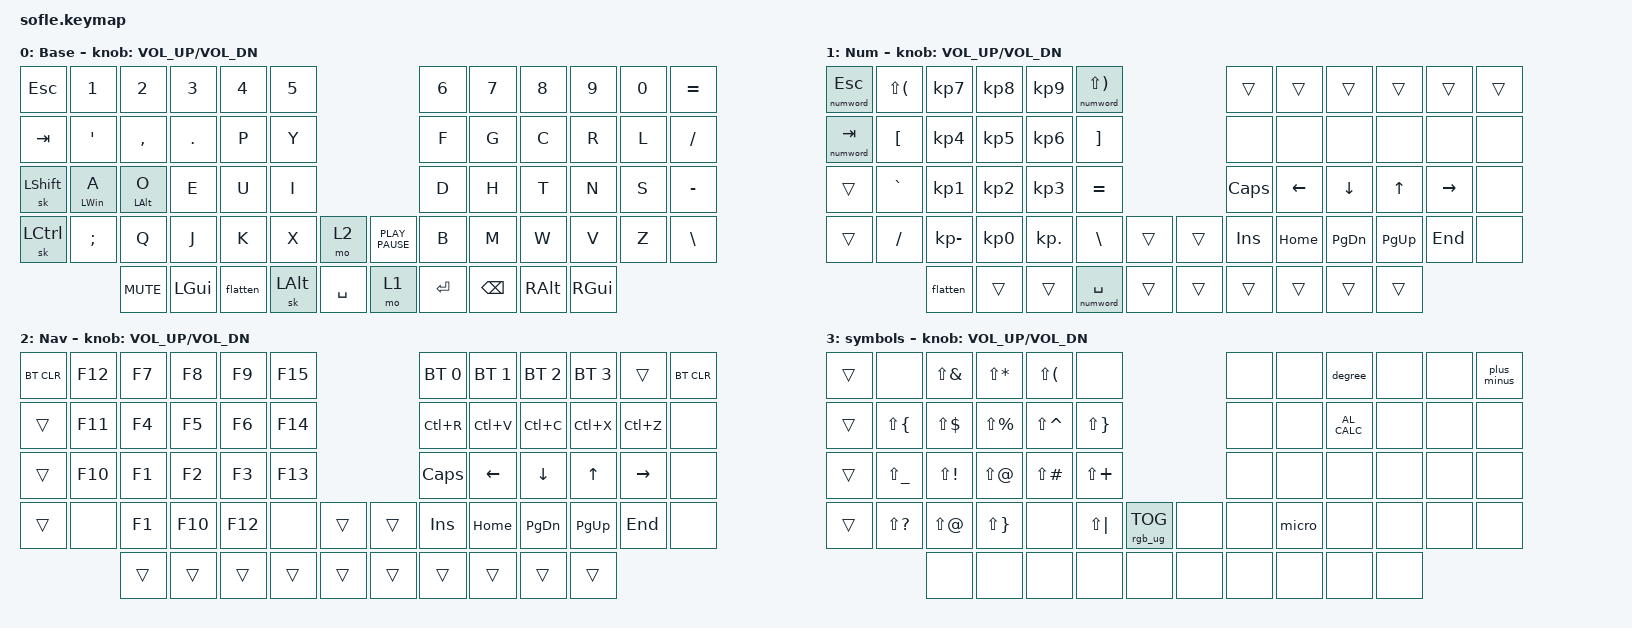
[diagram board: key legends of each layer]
/*
 * Copyright (c) 2020 The ZMK Contributors
 *
 * SPDX-License-Identifier: MIT
 */

#include <behaviors.dtsi>
#include <dt-bindings/zmk/bt.h>
#include <dt-bindings/zmk/keys.h>
#include <dt-bindings/zmk/pointing.h>
#include <dt-bindings/zmk/rgb.h>

#define BASE 0
#define LOWER 1
#define RAISE 2
#define ADJUST 3

/ {
    // Activate ADJUST layer by pressing raise and lower

    conditional_layers {
        compatible = "zmk,conditional-layers";

        adjust_layer {
            if-layers = <LOWER RAISE>;
            then-layer = <ADJUST>;
        };
    };

    combos {
        compatible = "zmk,combos";

        escape {
            bindings = <&kp ESCAPE>;
            key-positions = <14 15>;
        };

        enter {
            bindings = <&kp ENTER>;
            key-positions = <15 16>;
            layers = <0 2 3>;
        };

        backspace {
            bindings = <&kp BACKSPACE>;
            key-positions = <16 17>;
        };

        copy {
            bindings = <&kp LC(C)>;
            key-positions = <38 39>;
        };

        cut {
            bindings = <&kp LC(X)>;
            key-positions = <38 40>;
        };

        paste {
            bindings = <&kp LC(V)>;
            key-positions = <39 40>;
        };

        nwenter {
            bindings = <&numword ENTER>;
            key-positions = <15 16>;
            layers = <1>;
        };

        numenter {
            bindings = <&kp KP_ENTER>;
            key-positions = <28 40>;
        };

        numcomma {
            bindings = <&commaspace>;
            key-positions = <14 26>;
            layers = <1>;
        };

        ctrl-a {
            bindings = <&kp LC(A)>;
            key-positions = <24 25>;
        };

        alt-o {
            bindings = <&kp LA(O)>;
            key-positions = <25 26>;
        };

        pwdshortcut {
            bindings = <&kp LC(SEMICOLON)>;
            key-positions = <36 37>;
        };

        symbol {
            bindings = <&sl 3>;
            key-positions = <24 36>;
        };

        scrollup {
            bindings = <&msc SCRL_UP>;
            key-positions = <5 17>;
        };

        scrolldown {
            bindings = <&msc SCRL_DOWN>;
            key-positions = <29 41>;
        };
    };

    macros {
        plus_minus: plus_minus {
            compatible = "zmk,behavior-macro";
            #binding-cells = <0>;
            bindings =
                <&macro_press>,
                <&kp LEFT_ALT>,
                <&macro_tap>,
                <&kp KP_N0 &kp KP_NUMBER_1 &kp KP_NUMBER_7 &kp KP_NUMBER_7>,
                <&macro_release>,
                <&kp LEFT_ALT>;

            label = "PLUS_MINUS";
        };

        degree: degree {
            compatible = "zmk,behavior-macro";
            #binding-cells = <0>;
            bindings =
                <&macro_press>,
                <&kp LEFT_ALT>,
                <&macro_tap>,
                <&kp KP_NUMBER_0 &kp KP_NUMBER_1 &kp KP_NUMBER_7 &kp KP_N6>,
                <&macro_press>,
                <&kp LEFT_ALT>;

            label = "DEGREE";
        };

        numword: numword {
            compatible = "zmk,behavior-macro-one-param";
            #binding-cells = <1>;
            bindings = <&to 0 &macro_param_1to1 &kp MACRO_PLACEHOLDER>;
            label = "NUMWORD";
        };

        micro: micro {
            compatible = "zmk,behavior-macro";
            #binding-cells = <0>;
            bindings =
                <&macro_press>,
                <&kp LEFT_ALT>,
                <&macro_tap>,
                <&kp KP_NUMBER_0 &kp KP_NUMBER_1 &kp KP_NUMBER_8 &kp KP_NUMBER_1>,
                <&macro_release>,
                <&kp LEFT_ALT>;

            label = "MICRO";
        };

        commaspace: commaspace {
            compatible = "zmk,behavior-macro";
            #binding-cells = <0>;
            bindings = <&kp COMMA &kp SPACE>;
            label = "COMMASPACE";
        };
    };

    behaviors {
        flatten: flatten {
            compatible = "zmk,behavior-tap-dance";
            label = "Return to base on tap-dance";
            #binding-cells = <0>;
            bindings = <&to 1>, <&to 0>;
        };

        mtl: mtl {
            compatible = "zmk,behavior-hold-tap";
            label = "Mod-Tap (left)";
            bindings = <&kp>, <&kp>;

            #binding-cells = <2>;
            tapping-term-ms = <280>;
            quick-tap-ms = <175>;
            require-prior-idle-ms = <150>;
            flavor = "balanced";
            hold-trigger-key-positions = <50 51 52 53 54 55 56 57 58 59 6 7 8 9 10 11 18 19 20 21 22 23 30 31 32 33 34 35 44 45 46 47 48 49 57 58 59>;
            hold-trigger-on-release;
        };

        mtr: mtr {
            compatible = "zmk,behavior-hold-tap";
            label = "Mod-Tap (Right)";
            bindings = <&kp>, <&kp>;

            #binding-cells = <2>;
            tapping-term-ms = <280>;
            quick-tap-ms = <175>;
            require-prior-idle-ms = <150>;
            flavor = "balanced";
            hold-trigger-on-release;
            hold-trigger-key-positions = <0 1 2 3 4 5 12 13 14 15 16 17 24 25 26 27 28 29 36 37 38 39 40 41 50 51 52 53 52 53 54 55 56 57 58 59>;
        };
    };

    keymap {
        compatible = "zmk,keymap";

        default_layer {
            label = "Base";

            // ------------------------------------------------------------------------------------------------------------
            // |   `   |  1  |  2  |  3   |  4   |  5   |                   |  6   |  7    |  8    |  9   |   0   |       |
            // |  ESC  |  Q  |  W  |  E   |  R   |  T   |                   |  Y   |  U    |  I    |  O   |   P   | BKSPC |
            // |  TAB  |  A  |  S  |  D   |  F   |  G   |                   |  H   |  J    |  K    |  L   |   ;   |   '   |
            // | SHIFT |  Z  |  X  |  C   |  V   |  B   |  MUTE  |  |       |  N   |  M    |  ,    |  .   |   /   | SHIFT |
            //               | GUI | ALT  | CTRL | LOWER|  ENTER |  | SPACE | RAISE| CTRL  | ALT   | GUI  |

            bindings = <
&kp ESC           &kp N1       &kp N2       &kp N3        &kp N4    &kp N5                                   &kp N6     &kp N7         &kp N8    &kp N9    &kp N0  &kp EQUAL
&kp TAB           &kp SQT      &kp COMMA    &kp DOT       &kp P     &kp Y                                    &kp F      &kp G          &kp C     &kp R     &kp L   &kp FSLH
&sk LEFT_SHIFT    &mtl LWIN A  &mtl LALT O  &kp E         &kp U     &kp I                                    &kp D      &kp H          &kp T     &kp N     &kp S   &kp MINUS
&sk LEFT_CONTROL  &kp SEMI     &kp Q        &kp J         &kp K     &kp X     &mo 2        &kp K_PLAY_PAUSE  &kp B      &kp M          &kp W     &kp V     &kp Z   &kp BSLH
                               &kp K_MUTE   &kp LEFT_GUI  &flatten  &sk LALT  &kp SPACE    &mo 1             &kp ENTER  &kp BACKSPACE  &kp RALT  &kp RGUI
            >;

            sensor-bindings = <&inc_dec_kp C_VOL_UP C_VOL_DN>;
        };

        num_layer {
            label = "Num";

            // TODO: Some binds are waiting for shifted keycode support.
            // ------------------------------------------------------------------------------------------------------------
            // |       |  F1 |  F2 |  F3  |  F4  |  F5  |                   |  F6  |  F7   |  F8   |  F9  |  F10  |  F11  |
            // |   `   |  1  |  2  |  3   |  4   |  5   |                   |  6   |  7    |  8    |  9   |   0   |  F12  |
            // |       |  !  |  @  |  #   |  $   |  %   |                   |  ^   |  &    |  *    |  (   |   )   |   |   |
            // |       |  =  |  -  |  +   |  {   |  }   |        |  |       |  [   |  ]    |  ;    |  :   |   \   |       |
            //               |     |      |      |      |        |  |       |      |       |       |      |

            bindings = <
&numword ESCAPE  &kp LS(LEFT_PARENTHESIS)  &kp KP_NUMBER_7  &kp KP_NUMBER_8  &kp KP_NUMBER_9  &numword LS(RIGHT_PARENTHESIS)                    &trans    &trans    &trans         &trans        &trans     &trans
&numword TAB     &kp LEFT_BRACKET          &kp KP_NUMBER_4  &kp KP_NUMBER_5  &kp KP_NUMBER_6  &kp RIGHT_BRACKET                                 &none     &none     &none          &none         &none      &none
&trans           &kp GRAVE                 &kp KP_NUMBER_1  &kp KP_NUMBER_2  &kp KP_NUMBER_3  &kp EQUAL                                         &kp CAPS  &kp LEFT  &kp DOWN       &kp UP_ARROW  &kp RIGHT  &none
&trans           &kp SLASH                 &kp KP_MINUS     &kp KP_NUMBER_0  &kp KP_DOT       &kp BACKSLASH                   &trans    &trans  &kp INS   &kp HOME  &kp PAGE_DOWN  &kp PG_UP     &kp END    &none
                                           &flatten         &trans           &trans           &numword SPACE                  &trans    &trans  &trans    &trans    &trans         &trans
            >;

            sensor-bindings = <&inc_dec_kp C_VOL_UP C_VOL_DN>;
        };

        nav_layer {
            label = "Nav";

            // ------------------------------------------------------------------------------------------------------------
            // | BTCLR | BT1  | BT2  |  BT3  |  BT4  |  BT5 |                |      |      |       |      |       |       |
            // |       | INS  | PSCR | GUI   |       |      |                | PGUP |      |   ^   |      |       |       |
            // |       | ALT  | CTRL | SHIFT |       | CAPS |                | PGDN |   <- |   v   |  ->  |  DEL  | BKSPC |
            // |       | UNDO | CUT  | COPY  | PASTE |      |      |  |      |      |      |       |      |       |       |
            //                |      |       |       |      |      |  |      |      |      |       |      |

            bindings = <
&bt BT_CLR  &kp F12  &kp F7  &kp F8   &kp F9   &kp F15                    &bt BT_SEL 0  &bt BT_SEL 1  &bt BT_SEL 2   &bt BT_SEL 3  &trans     &bt BT_CLR
&trans      &kp F11  &kp F4  &kp F5   &kp F6   &kp F14                    &kp LC(R)     &kp LC(V)     &kp LC(C)      &kp LC(X)     &kp LC(Z)  &none
&trans      &kp F10  &kp F1  &kp F2   &kp F3   &kp F13                    &kp CAPS      &kp LEFT      &kp DOWN       &kp UP_ARROW  &kp RIGHT  &none
&trans      &none    &kp F1  &kp F10  &kp F12  &none    &trans    &trans  &kp INS       &kp HOME      &kp PAGE_DOWN  &kp PG_UP     &kp END    &none
                     &trans  &trans   &trans   &trans   &trans    &trans  &trans        &trans        &trans         &trans
            >;

            sensor-bindings = <&inc_dec_kp C_VOL_UP C_VOL_DN>;
        };

        sym_layer {
            // ----------------------------------------------------------------------------------------------------------------------------
            // | BTCLR  |  BT1    |  BT2    |   BT3   |   BT4   |   BT5   |                  |      |      |       |      |       |       |
            // | EXTPWR | RGB_HUD | RGB_HUI | RGB_SAD | RGB_SAI | RGB_EFF |                  |      |      |       |      |       |       |
            // |        | RGB_BRD | RGB_BRI |         |         |         |                  |      |      |       |      |       |       |
            // |        |         |         |         |         |         | RGB_TOG | |      |      |      |       |      |       |       |
            //                    |         |         |         |         |         | |      |      |      |       |      |

            label = "symbols";
            bindings = <
&trans  &none          &kp LS(AMPS)  &kp LS(STAR)   &kp LS(LPAR)   &none                                   &none  &none   &degree        &none  &none  &plus_minus
&trans  &kp LS(LBRC)   &kp LS(DLLR)  &kp LS(PRCNT)  &kp LS(CARET)  &kp LS(RBRC)                            &none  &none   &kp C_AL_CALC  &none  &none  &none
&trans  &kp LS(UNDER)  &kp LS(EXCL)  &kp LS(AT)     &kp LS(POUND)  &kp LS(PLUS)                            &none  &none   &none          &none  &none  &none
&trans  &kp LS(QMARK)  &kp LS(AT)    &kp LS(RBRC)   &none          &kp LS(PIPE)  &rgb_ug RGB_TOG    &none  &none  &micro  &none          &none  &none  &none
                       &none         &none          &none          &none         &none              &none  &none  &none   &none          &none
            >;

            sensor-bindings = <&inc_dec_kp C_VOL_UP C_VOL_DN>;
        };
    };
};
